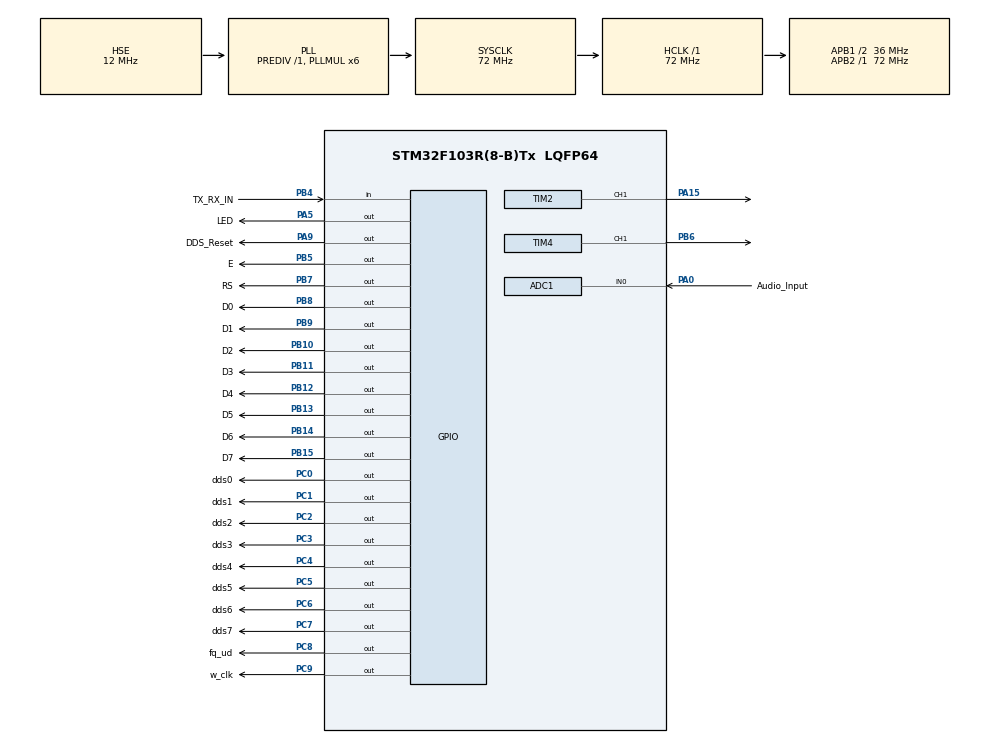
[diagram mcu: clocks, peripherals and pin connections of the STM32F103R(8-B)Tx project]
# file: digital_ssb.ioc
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ADC1.Channel-0\#ChannelRegularConversion=ADC_CHANNEL_0
ADC1.ExternalTrigConv=ADC_EXTERNALTRIGCONV_T3_TRGO
ADC1.NbrOfConversionFlag=1
ADC1.Rank-0\#ChannelRegularConversion=1
ADC1.SamplingTime-0\#ChannelRegularConversion=ADC_SAMPLETIME_1CYCLE_5
ADC1.master=1
Mcu.Family=STM32F1
Mcu.Name=STM32F103R(8-B)Tx
Mcu.Package=LQFP64
NVIC.ADC1_2_IRQn=true\:0\:0\:false\:false\:true\:true
NVIC.PriorityGroup=NVIC_PRIORITYGROUP_4
PA0-WKUP.GPIO_Label=Audio_Input
PA0-WKUP.Signal=ADCx_IN0
PA15.Signal=S_TIM2_CH1_ETR
PA5.GPIO_Label=LED
PA5.GPIO_Speed=GPIO_SPEED_FREQ_HIGH
PA5.PinState=GPIO_PIN_RESET
PA5.Signal=GPIO_Output
PA9.GPIO_Label=DDS_Reset
PA9.GPIO_Speed=GPIO_SPEED_FREQ_HIGH
PA9.Signal=GPIO_Output
PB10.GPIO_Label=D2
PB10.GPIO_Speed=GPIO_SPEED_FREQ_HIGH
PB10.Signal=GPIO_Output
PB11.GPIO_Label=D3
PB11.GPIO_Speed=GPIO_SPEED_FREQ_HIGH
PB11.Signal=GPIO_Output
PB12.GPIO_Label=D4
PB12.GPIO_Speed=GPIO_SPEED_FREQ_HIGH
PB12.Signal=GPIO_Output
PB13.GPIO_Label=D5
PB13.GPIO_Speed=GPIO_SPEED_FREQ_HIGH
PB13.Signal=GPIO_Output
PB14.GPIO_Label=D6
PB14.GPIO_Speed=GPIO_SPEED_FREQ_HIGH
PB14.Signal=GPIO_Output
PB15.GPIO_Label=D7
PB15.GPIO_Speed=GPIO_SPEED_FREQ_HIGH
PB15.Signal=GPIO_Output
PB4.GPIO_Label=TX_RX_IN
PB4.GPIO_PuPd=GPIO_PULLDOWN
PB4.Signal=GPIO_Input
PB5.GPIO_Label=E
PB5.GPIO_Speed=GPIO_SPEED_FREQ_HIGH
PB5.Signal=GPIO_Output
PB6.Signal=S_TIM4_CH1
PB7.GPIO_Label=RS
PB7.GPIO_Speed=GPIO_SPEED_FREQ_HIGH
PB7.Signal=GPIO_Output
PB8.GPIO_Label=D0
PB8.GPIO_Speed=GPIO_SPEED_FREQ_HIGH
PB8.Signal=GPIO_Output
PB9.GPIO_Label=D1
PB9.GPIO_Speed=GPIO_SPEED_FREQ_HIGH
PB9.Signal=GPIO_Output
PC0.GPIO_Label=dds0
PC0.GPIO_Speed=GPIO_SPEED_FREQ_HIGH
PC0.Signal=GPIO_Output
PC1.GPIO_Label=dds1
PC1.GPIO_Speed=GPIO_SPEED_FREQ_HIGH
PC1.Signal=GPIO_Output
PC2.GPIO_Label=dds2
PC2.GPIO_Speed=GPIO_SPEED_FREQ_HIGH
PC2.Signal=GPIO_Output
PC3.GPIO_Label=dds3
PC3.GPIO_Speed=GPIO_SPEED_FREQ_HIGH
PC3.Signal=GPIO_Output
PC4.GPIO_Label=dds4
PC4.GPIO_Speed=GPIO_SPEED_FREQ_HIGH
PC4.Signal=GPIO_Output
PC5.GPIO_Label=dds5
PC5.GPIO_Speed=GPIO_SPEED_FREQ_HIGH
PC5.Signal=GPIO_Output
PC6.GPIO_Label=dds6
PC6.GPIO_Speed=GPIO_SPEED_FREQ_HIGH
PC6.Signal=GPIO_Output
PC7.GPIO_Label=dds7
PC7.GPIO_Speed=GPIO_SPEED_FREQ_HIGH
PC7.Signal=GPIO_Output
PC8.GPIO_Label=fq_ud
PC8.GPIO_Speed=GPIO_SPEED_FREQ_HIGH
PC8.Signal=GPIO_Output
PC9.GPIO_Label=w_clk
PC9.GPIO_Speed=GPIO_SPEED_FREQ_HIGH
PC9.Signal=GPIO_Output
PD0-OSC_IN.Mode=HSE-External-Oscillator
PD0-OSC_IN.Signal=RCC_OSC_IN
PD1-OSC_OUT.Mode=HSE-External-Oscillator
PD1-OSC_OUT.Signal=RCC_OSC_OUT
ProjectManager.HeapSize=0x200
ProjectManager.StackSize=0x400
ProjectManager.TargetToolchain=MDK-ARM V5
RCC.ADCPresc=RCC_ADCPCLK2_DIV6
RCC.AHBFreq_Value=72000000
RCC.APB1CLKDivider=RCC_HCLK_DIV2
RCC.APB1Freq_Value=36000000
RCC.APB1TimFreq_Value=72000000
RCC.APB2Freq_Value=72000000
RCC.APB2TimFreq_Value=72000000
RCC.HCLKFreq_Value=72000000
RCC.HSE_VALUE=12000000
RCC.PLLMUL=RCC_PLL_MUL6
RCC.PLLSourceVirtual=RCC_PLLSOURCE_HSE
RCC.SYSCLKFreq_VALUE=72000000
RCC.SYSCLKSource=RCC_SYSCLKSOURCE_PLLCLK
RCC.USBFreq_Value=72000000
SH.ADCx_IN0.0=ADC1_IN0,IN0
SH.S_TIM2_CH1_ETR.0=TIM2_CH1,PWM Generation1 CH1
SH.S_TIM4_CH1.0=TIM4_CH1,PWM Generation1 CH1
TIM2.Channel-PWM\ Generation1\ CH1=TIM_CHANNEL_1
TIM2.Period=8190
TIM3.Period=8190
TIM3.TIM_MasterOutputTrigger=TIM_TRGO_UPDATE
TIM4.Channel-PWM\ Generation1\ CH1=TIM_CHANNEL_1
TIM4.Period=4095
VP_SYS_VS_ND.Mode=No_Debug
VP_TIM2_VS_ClockSourceINT.Mode=Internal
VP_TIM3_VS_ClockSourceINT.Mode=Internal
VP_TIM4_VS_ClockSourceINT.Mode=Internal
board=custom

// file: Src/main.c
/**
  ******************************************************************************
  * @file           : main.c
  * @brief          : Main program body
  ******************************************************************************
  ** This notice applies to any and all portions of this file
  * that are not between comment pairs USER CODE BEGIN and
  * USER CODE END. Other portions of this file, whether
  * inserted by the user or by software development tools
  * are owned by their respective copyright owners.
  *
  * COPYRIGHT(c) 2020 STMicroelectronics
  *
  * Redistribution and use in source and binary forms, with or without modification,
  * are permitted provided that the following conditions are met:
  *   1. Redistributions of source code must retain the above copyright notice,
  *      this list of conditions and the following disclaimer.
  *   2. Redistributions in binary form must reproduce the above copyright notice,
  *      this list of conditions and the following disclaimer in the documentation
  *      and/or other materials provided with the distribution.
  *   3. Neither the name of STMicroelectronics nor the names of its contributors
  *      may be used to endorse or promote products derived from this software
  *      without specific prior written permission.
  *
  * THIS SOFTWARE IS PROVIDED BY THE COPYRIGHT HOLDERS AND CONTRIBUTORS "AS IS"
  * AND ANY EXPRESS OR IMPLIED WARRANTIES, INCLUDING, BUT NOT LIMITED TO, THE
  * IMPLIED WARRANTIES OF MERCHANTABILITY AND FITNESS FOR A PARTICULAR PURPOSE ARE
  * DISCLAIMED. IN NO EVENT SHALL THE COPYRIGHT HOLDER OR CONTRIBUTORS BE LIABLE
  * FOR ANY DIRECT, INDIRECT, INCIDENTAL, SPECIAL, EXEMPLARY, OR CONSEQUENTIAL
  * DAMAGES (INCLUDING, BUT NOT LIMITED TO, PROCUREMENT OF SUBSTITUTE GOODS OR
  * SERVICES; LOSS OF USE, DATA, OR PROFITS; OR BUSINESS INTERRUPTION) HOWEVER
  * CAUSED AND ON ANY THEORY OF LIABILITY, WHETHER IN CONTRACT, STRICT LIABILITY,
  * OR TORT (INCLUDING NEGLIGENCE OR OTHERWISE) ARISING IN ANY WAY OUT OF THE USE
  * OF THIS SOFTWARE, EVEN IF ADVISED OF THE POSSIBILITY OF SUCH DAMAGE.
  *
  ******************************************************************************
  */
#include "main.h"
#include "stm32f1xx_hal.h"

/* USER CODE BEGIN Includes */
#define ARM_MATH_CM3
#include "arm_math.h"
#define _USE_MATH_DEFINES
#include <math.h>
#include <string.h>

#define PHASE_RES 58968
//#define SSB_LIM
#define IIR_DC_BLOCK
#define MAX_F 30000 //Max SSB frequency offset
#define PHASE_RES_2 31

//Macros
#define GPIOB_PIN(n) (*(PERIPH_BB_BASE + (GPIOB->ODR - PERIPH_BASE) * 0x20 + n * 4)) //Bit banding
//#define toQ31 2147483648*
#define toQ31( v ) ((int32_t) ((2147483648 - 1)*v))
#define mulQ31( a, b ) ((int32_t)(( ((int64_t) (a)) * ((int64_t) (b)) ) >> 31 ))
#define rW( n ) w[(pos- n)&0xF]
#define fromQ31( v ) (((float)v) / (2147483648 - 1) )
/* USER CODE END Includes */

ADC_HandleTypeDef hadc1;

TIM_HandleTypeDef htim2;
TIM_HandleTypeDef htim3;
TIM_HandleTypeDef htim4;

/* USER CODE BEGIN PV */
/* Private variables ---------------------------------------------------------*/

/* USER CODE END PV */

void SystemClock_Config(void);
static void MX_GPIO_Init(void);
static void MX_TIM3_Init(void);
static void MX_TIM4_Init(void);
static void MX_ADC1_Init(void);
static void MX_TIM2_Init(void);

void HAL_TIM_MspPostInit(TIM_HandleTypeDef *htim);

/* USER CODE BEGIN PFP */
/* Private function prototypes -----------------------------------------------*/
volatile uint8_t new_sample = 0, carrier = 0;  //new_sample: tells the main programm if there is a new sample to process
volatile static int16_t adc_value = 0, amplitude = 0; //in and outputs
volatile int32_t dif = 0;
volatile static int32_t offset;
volatile static uint8_t phase_reg;
volatile static uint32_t freq = 271150000; //TX/RX Frequency

static void lcd_write(uint8_t data, uint8_t RS)
{
	uint8_t i;

	GPIOB->ODR &= 0x005F; //Clear all Bits
	GPIOB->ODR |= RS << 7; //Set RS
	GPIOB->ODR |= 1 << 5; //Set E to high
	GPIOB->ODR |= data << 8; //Output data
	for(i=0;i<255;i++); //Delay
	GPIOB->ODR &= ~(1 << 5); //Set E to low
	for(i=0;i<255;i++); //Delay
}

static void lcd_init()
{
	HAL_Delay(15);
	lcd_write(0x30, 0);
	HAL_Delay(5);
	lcd_write(0x30, 0);
	HAL_Delay(1);
	lcd_write(0x30, 0);
	//Select Mode (cursor increment, position fix)
	lcd_write(0x06, 0);
	HAL_Delay(1);
	//Display on, cursor off
	lcd_write(0x0C, 0);
	//lcd_write(0x0F, 0);
	HAL_Delay(5);
	//move cursor to the rigth
	lcd_write(0x14, 0);
	HAL_Delay(5);
	//8bit, two lines, 5x7 Font
	lcd_write(0x38, 0);
	HAL_Delay(5);
}

static void lcd_write_string(char data[], uint8_t line)
{
	uint8_t i = 0;

	//Clear Display
	if(line == 0) lcd_write(0x80, 0);
	else lcd_write(0xC0, 0);
	//HAL_Delay(1);
	while(data[i] != 0)
	{
		lcd_write((uint8_t) data[i], 1);
		i++;

	}
}

static void update_smeter(uint8_t s_value, uint8_t mod)
{
	char out[17], buffer[5];
	uint8_t i;

	out[0] = 'S';
	for(i=1; i<=9; i++) //S-Meter Graph
	{
		if(i <= s_value) out[i] = '>';
		else out[i] = ' ';
	}
	out[10] = 0x0;
	if(s_value < 10)
	{
		sprintf(buffer, "%d ", s_value);
		strcat(out, buffer);
	}
	else
	{
		out[10] = '9';
		out[11] = '+';
	}
	out[12] = 0x0;

	if(mod == 5) strcat(out, " NFM");
	else if(mod == 3) strcat(out, " USB");
	else if(mod == 4) strcat(out, " LSB");

	lcd_write_string(out, 1);
}

static void update_freq(uint8_t tx)
{
	char out[17], buffer[16];
	uint8_t len, i;

	sprintf(out, "%d", freq);
	len = strlen(out);
	for(i=0;i<=(8-len); i++) buffer[i] = '0'; //Add 0 to get constant string size
	buffer[i++] = 0;
	strcat(buffer, out);

	//Add points
	for(i=0;i<=1;i++) out[i] = buffer[i];
	out[2] = '.';
	for(i=3;i<=5;i++) out[i] = buffer[i-1];
	out[6] = '.';
	for(i=7;i<=9;i++) out[i] = buffer[i-2];
	out[10] = ',';
	out[11] = buffer[8];
	out[12] = 'H';
	out[13] = 'z';
	out[14] = ' ';
	if(tx == 1) out[15] = '!';
	else out[15] = ' ';
	out[16] = 0;

	lcd_write_string(out, 0);
}

inline static void set_ad9850_freq(uint64_t freq_buf, uint8_t pw_d, uint8_t phase_reg_in) //freq in * 0,1 Hz (dezi Hz)
{
	static uint8_t w[5], i;
	static const uint64_t ref = 1250000000;
	static uint64_t w_erg;

	w_erg = freq_buf * 4294967296 / ref;  //calculate the 32bit frequency register word for the AD9850

	//w_erg = 0xFF00FF00; //Test

	w[0] = ((phase_reg_in << 1) | (~pw_d & 0x01)) << 2; //allowes to turn of the carrier
	w[1] = (w_erg >> 24) & 0xFF;
	w[2] = (w_erg >> 16) & 0xFF;
	w[3] = (w_erg >> 8) & 0xFF;
	w[4] = w_erg & 0xFF;

	//Set FQ_UD to low
	GPIOC->ODR &= ~(0x01 << 8);

	for(i=0;i<=4;i++)
	{
		GPIOC->ODR &= ~0xFF;
		GPIOC->ODR |= w[i];
		GPIOC->ODR |= 0x01 << 9; //W_CLK high
		GPIOC->ODR &= ~(0x01 << 9);  //W_CLK low
	}

	//Set FQ_UD to high
	GPIOC->ODR |= 0x01 << 8;

}
//I do not plan on implementing AM modulation (makes the transmitter simpler and cheaper)
__forceinline static void bc_am()  //broadcast quality AM. Uses max. sample rate while optaining 12 bit PWM range.
{
	//DC Removal variables
	volatile static float w_dc = 0, w_dc1 = 0;
	static const float a_dc = 0.99;

	//Remove DC
	w_dc = (adc_value >> 3) + a_dc * w_dc1;
	amplitude = ((int) (w_dc - w_dc1)) + 2048; //Add DC offset for carrier (2^12 / 2 = 2048)
	w_dc1 = w_dc;
	new_sample = 0;
}

__forceinline int32_t abs( int32_t a ) { return a < 0 ? (0 -a) : a; }

//only positiv values allowed
/*__forceinline static int32_t divQ31(int32_t a, int32_t b)
{
    static int32_t erg;

    if( a == b) return toQ31(1);
    else
    {
    erg = a / (b >> 15);
    return erg << 16;
    }
}*/

//Sounds better
__forceinline static int32_t divQ31(int32_t a, int32_t b)
{
	return toQ31(fromQ31(a) / fromQ31(b));
}

__forceinline static int32_t atanQ31(int32_t x)
{
    //x = [-1 1] --> y = [-0.25 0.25] = [-45° 45°]
    return mulQ31( toQ31(1/PI), mulQ31(toQ31(PI/4), x) + mulQ31(mulQ31(toQ31(0.285), x), (toQ31(1) - abs(x))));
}

__forceinline static int32_t atan2_Q31(int32_t q, int32_t i)
{
    static int32_t erg;

    if(abs(q) > abs(i))
    {
        erg = toQ31(0.5) - atanQ31(divQ31(abs(i), abs(q))); //arctan(z) = 90-arctan(1/z) (0.5 = 90°)
    }
    else
    {
        erg = (i == 0) ? 0 : atanQ31(divQ31(abs(q), abs(i))); //arctan(z)
    }
    erg = (i < 0) ? toQ31(1) - erg : erg; //arctan(-z) = -arctan(z) (1 = 180°)
    return (q < 0) ? 0-erg : erg;
}

__forceinline static void ssb(uint8_t lsb)
{
	//DC Removal variables
	volatile static float w_dc = 0, w_dc1 = 0;
	static q31_t hilbert_input;

	//Hilbert-Filter variables
	static q31_t w[16], y_I = 0, y_Q = 0;
	static q31_t amplitude_q;
	static const q31_t a[4] = {toQ31(0.052981), toQ31(0.088199), toQ31(0.18683), toQ31(0.62783)};  //calculated with octave
	static uint8_t pos = 0; //ringbuffer position
	static const q31_t div = toQ31(0.5);

	//Phase to Frquency variables
	static int32_t phase_i = 0, prev_phase_i = 0;

	#ifdef IIR_DC_BLOCK
	static q31_t adc_value_q, wdc_q, wdc1_q;
	static const q31_t adc_q = toQ31(0.99);

	adc_value_q = adc_value * ( toQ31(1) / 2048 );
	adc_value_q = adc_value_q >> 10;  //Avoids overflow
	wdc_q = adc_value_q + mulQ31(adc_q,  wdc1_q);
	hilbert_input = wdc_q - wdc1_q;
	wdc1_q = wdc_q;

	hilbert_input = hilbert_input << 7; //More resulution for the hilbert transformer

	#else
	static int32_t dc;
	dc += (adc_value - dc) / 2;
	adc_value -= dc;
	hilbert_input = adc_value * ( toQ31(1) / 2048 );
	#endif

	w[++pos & 0x0F] = hilbert_input;
	y_I = rW(7);
	//structure optimation inspired by wikipedia: Hilbert-Transformation
	//Designed with Octave
	y_Q = mulQ31(rW(14) - rW(0), a[0]) +
        mulQ31(rW(12) - rW(2), a[1]) +
        mulQ31(rW(10) - rW(4), a[2]) +
        mulQ31(rW(8) - rW(6), a[3]);

//++++++++THE FOLLOWING PART IS UNDER CONSTRUCTION++++++++

	//Komponentenschreibweise zu Winkelschreibweise (Component notation to Angular notation?)
	//arm_sqrt_q31(mulQ31(mulQ31(y_I, y_I), div) + mulQ31(mulQ31(y_Q, y_Q), div), &amplitude_q);
	amplitude_q = mulQ31(mulQ31(y_I, y_I), div) + mulQ31(mulQ31(y_Q, y_Q), div); //is sufficient for detecting 0
	//amplitude = (uint16_t) mulQ31( amplitude_q, (q31_t) toQ31( 4096 / toQ31(1))); //Not tested

	static q31_t phase_q;

		if((y_I == 0) && (y_Q > 0)) phase_q = toQ31(0.5); //phase strebt gegen 90° wenn I gegen 0 geht und Q positiv ist
		else if ((y_I == 0) && (y_Q < 0)) phase_q = toQ31(-0.5); //phase strebt gegen -90° wenn I gegen 0 geht und Q negativ ist
		//else phase_q = toQ31(atan2f(fromQ31(y_Q), fromQ31(y_I)) / PI); //[-1 1]
		else phase_q = atan2_Q31(y_Q, y_I);
		//phase = phase / 2;
		phase_q = phase_q >> 1;
		//convert negativ phase to positiv phase (atan2f returns a value between -pi and +pi)
		if(phase_q < 0) phase_q = toQ31(1) + phase_q;
		//PHASE_RES is the phase resulution (importent when converting to int)
		phase_i = (((phase_q >> 16) * PHASE_RES) >> 15);

	//The differential of a phase gives the frequency change (you can convert a frequency modulator into a phase modulator)

	dif = phase_i - prev_phase_i;
	prev_phase_i = phase_i;

	//a "circular" nummber set is needed
	if(dif < 0) dif = dif + PHASE_RES; //avoid negativ phase differences (and therefore negative frequencies)

	//Reduces bandwith but lowers quality
	#ifdef SSB_LIM
	if(dif > MAX_F) //Reducing the bandwidth while maintaining the required frequency shift (delaying to the next sample)
	{
		prev_phase_i = phase_i - (dif - MAX_F);
		dif = MAX_F;
	}
	#endif

	offset = dif;

	carrier = 1;
	if(amplitude_q < 20) carrier = 0; //no carrier when there is no audio input and thus no amplitude

	//LSB
	if(lsb == 1) offset = offset * -1; //mirror the frequencies on the carrier.

	//DDS Phase Reg
	phase_reg = 0;

	new_sample = 0; //calculation finished

//++++++++END OF CONSTRUCTION AREA++++++++
}

__forceinline static void nfm(uint8_t comp)
{
	static int16_t gain = 0;
	static uint16_t to_high = 0, to_low = 0;
	static int32_t out_dc;

	static q31_t adc_value_q, wdc_q, wdc1_q, out_dc_q;
	static const q31_t adc_q = toQ31(0.3);

	adc_value_q = adc_value * ( toQ31(1) / 2048 );
	adc_value_q = adc_value_q >> 10;  //Avoids overflow
	wdc_q = adc_value_q + mulQ31(adc_q,  wdc1_q);
	out_dc_q = wdc_q - wdc1_q;
	wdc1_q = wdc_q;

	out_dc = (out_dc_q << 10) / ( toQ31(1) / 2048 );

	if(comp == 0) gain = 0; //Deactivates the compressor
	offset = (int32_t) (out_dc * (50 + gain));

	//Compressor
	if(offset > 50000) //Limmit frequency drift
	{
		offset = 50000;
		to_high++;
	}
	if(offset < -50000) //Limmit frequency drift
	{
		offset = -50000;
		to_high++;
	}

	if(to_high > 0) //Release
	{
		gain--;
		to_high--;
	}
	else if (offset > 1000) //avoid triggering on silence
	{
		to_low++;
		if(to_low > 5) //Attack
		{
			gain++;
			to_low = 0;
		}
	}
	carrier = 1;
	new_sample = 0; //calculation finished
}

/* USER CODE END PFP */

int main(void)
{
  /* USER CODE BEGIN 1 */
	uint8_t mod = 5; //1 = AM; 3 = USB; 4 = LSB; 5 = NFM
	uint8_t tx = 0, tx_prev = 0;
  /* USER CODE END 1 */

  /* MCU Configuration----------------------------------------------------------*/

  /* Reset of all peripherals, Initializes the Flash interface and the Systick. */
  HAL_Init();

  /* Configure the system clock */
  SystemClock_Config();

  /* Initialize all configured peripherals */
  MX_GPIO_Init();
  MX_TIM3_Init();
  MX_TIM4_Init();
  MX_ADC1_Init();
  MX_TIM2_Init();
  /* USER CODE BEGIN 2 */
	HAL_GPIO_WritePin(GPIOA, DDS_Reset_Pin, GPIO_PIN_SET);
	HAL_Delay(1);
	HAL_GPIO_WritePin(GPIOA, DDS_Reset_Pin, GPIO_PIN_RESET);

	lcd_init();

	HAL_ADC_Start_IT(&hadc1); //Start audio ADC
  HAL_TIM_Base_Start(&htim3); //This timer defines the audio sample rate
  HAL_TIM_PWM_Start(&htim4, TIM_CHANNEL_1); //RF amplitude PWM
	HAL_TIM_PWM_Start(&htim2, TIM_CHANNEL_1); //RF frequency PWM (not used anymore)
  /* USER CODE END 2 */

  /* Infinite loop */
  /* USER CODE BEGIN WHILE */
	//Speedtest for DDS communication
/*while(1)
{
	HAL_GPIO_WritePin(GPIOA, LED_Pin, GPIO_PIN_SET); //Speed Test
	set_ad9850_freq(36000000, 0);
	HAL_GPIO_WritePin(GPIOA, LED_Pin, GPIO_PIN_RESET); //Speed Test
	HAL_Delay(1);
}*/
while(1)
{
  /* USER CODE END WHILE */

  /* USER CODE BEGIN 3 */

//READ TX_RX_IN Pin
tx = HAL_GPIO_ReadPin(GPIOB, TX_RX_IN_Pin);

//++++RECEIVE++++

	if(tx == 0)
	{
		if(tx_prev == 1) //change configuration after TX
		{
			HAL_TIM_Base_Stop(&htim3); //Stop MIC sampling
			set_ad9850_freq(0,0,0); //No TX
			update_freq(tx); //TX indicator
			HAL_Delay(200); //entprellen
		}
		tx_prev = tx;

		//High speed stuff
		HAL_Delay(1);
		update_smeter(10, mod);
		update_freq(tx);
	}

//++++TRANSMIT++++

	else
	{
	if(tx_prev == 0) //change configuration after RX
	{
		HAL_Delay(200); //entprellen
		update_freq(tx); //TX indicator
		update_smeter(0, mod);
		HAL_TIM_Base_Start(&htim3); //Start MIC sampling
	}
	tx_prev = tx;

	//High Speed stuff
	if((mod == 1) && (new_sample == 1))
	  {
		  HAL_GPIO_WritePin(GPIOA, LED_Pin, GPIO_PIN_SET); //Speed Test

		  bc_am();

		  HAL_GPIO_WritePin(GPIOA, LED_Pin, GPIO_PIN_RESET); //Speed Test
	  }
	  else if((mod == 3) && (new_sample == 1))
	  {
		  HAL_GPIO_WritePin(GPIOA, LED_Pin, GPIO_PIN_SET); //Speed Test

		  ssb(0);

		  HAL_GPIO_WritePin(GPIOA, LED_Pin, GPIO_PIN_RESET); //Speed Test
	  }
		else if((mod == 4) && (new_sample == 1))
		{
		  HAL_GPIO_WritePin(GPIOA, LED_Pin, GPIO_PIN_SET); //Speed Test

		  ssb(1);

		  HAL_GPIO_WritePin(GPIOA, LED_Pin, GPIO_PIN_RESET); //Speed Test
	  }
		else if((mod == 5) && (new_sample == 1))
		{
		  HAL_GPIO_WritePin(GPIOA, LED_Pin, GPIO_PIN_SET); //Speed Test

		  nfm(1);

		  HAL_GPIO_WritePin(GPIOA, LED_Pin, GPIO_PIN_RESET); //Speed Test
		}
	}
  }
  /* USER CODE END 3 */

}

void SystemClock_Config(void)
{

  RCC_OscInitTypeDef RCC_OscInitStruct;
  RCC_ClkInitTypeDef RCC_ClkInitStruct;
  RCC_PeriphCLKInitTypeDef PeriphClkInit;

    /**Initializes the CPU, AHB and APB busses clocks
    */
  RCC_OscInitStruct.OscillatorType = RCC_OSCILLATORTYPE_HSE;
  RCC_OscInitStruct.HSEState = RCC_HSE_ON;
  RCC_OscInitStruct.HSEPredivValue = RCC_HSE_PREDIV_DIV1;
  RCC_OscInitStruct.HSIState = RCC_HSI_ON;
  RCC_OscInitStruct.PLL.PLLState = RCC_PLL_ON;
  RCC_OscInitStruct.PLL.PLLSource = RCC_PLLSOURCE_HSE;
  RCC_OscInitStruct.PLL.PLLMUL = RCC_PLL_MUL6;
  if (HAL_RCC_OscConfig(&RCC_OscInitStruct) != HAL_OK)
  {
    _Error_Handler(__FILE__, __LINE__);
  }

    /**Initializes the CPU, AHB and APB busses clocks
    */
  RCC_ClkInitStruct.ClockType = RCC_CLOCKTYPE_HCLK|RCC_CLOCKTYPE_SYSCLK
                              |RCC_CLOCKTYPE_PCLK1|RCC_CLOCKTYPE_PCLK2;
  RCC_ClkInitStruct.SYSCLKSource = RCC_SYSCLKSOURCE_PLLCLK;
  RCC_ClkInitStruct.AHBCLKDivider = RCC_SYSCLK_DIV1;
  RCC_ClkInitStruct.APB1CLKDivider = RCC_HCLK_DIV2;
  RCC_ClkInitStruct.APB2CLKDivider = RCC_HCLK_DIV1;

  if (HAL_RCC_ClockConfig(&RCC_ClkInitStruct, FLASH_LATENCY_2) != HAL_OK)
  {
    _Error_Handler(__FILE__, __LINE__);
  }

  PeriphClkInit.PeriphClockSelection = RCC_PERIPHCLK_ADC;
  PeriphClkInit.AdcClockSelection = RCC_ADCPCLK2_DIV6;
  if (HAL_RCCEx_PeriphCLKConfig(&PeriphClkInit) != HAL_OK)
  {
    _Error_Handler(__FILE__, __LINE__);
  }

    /**Configure the Systick interrupt time
    */
  HAL_SYSTICK_Config(HAL_RCC_GetHCLKFreq()/1000);

    /**Configure the Systick
    */
  HAL_SYSTICK_CLKSourceConfig(SYSTICK_CLKSOURCE_HCLK);

  /* SysTick_IRQn interrupt configuration */
  HAL_NVIC_SetPriority(SysTick_IRQn, 0, 0);
}

/* ADC1 init function */
static void MX_ADC1_Init(void)
{

  ADC_ChannelConfTypeDef sConfig;

    /**Common config
    */
  hadc1.Instance = ADC1;
  hadc1.Init.ScanConvMode = ADC_SCAN_DISABLE;
  hadc1.Init.ContinuousConvMode = DISABLE;
  hadc1.Init.DiscontinuousConvMode = DISABLE;
  hadc1.Init.ExternalTrigConv = ADC_EXTERNALTRIGCONV_T3_TRGO;
  hadc1.Init.DataAlign = ADC_DATAALIGN_RIGHT;
  hadc1.Init.NbrOfConversion = 1;
  if (HAL_ADC_Init(&hadc1) != HAL_OK)
  {
    _Error_Handler(__FILE__, __LINE__);
  }

    /**Configure Regular Channel
    */
  sConfig.Channel = ADC_CHANNEL_0;
  sConfig.Rank = ADC_REGULAR_RANK_1;
  sConfig.SamplingTime = ADC_SAMPLETIME_1CYCLE_5;
  if (HAL_ADC_ConfigChannel(&hadc1, &sConfig) != HAL_OK)
  {
    _Error_Handler(__FILE__, __LINE__);
  }

}

/* TIM2 init function */
static void MX_TIM2_Init(void)
{

  TIM_ClockConfigTypeDef sClockSourceConfig;
  TIM_MasterConfigTypeDef sMasterConfig;
  TIM_OC_InitTypeDef sConfigOC;

  htim2.Instance = TIM2;
  htim2.Init.Prescaler = 0;
  htim2.Init.CounterMode = TIM_COUNTERMODE_UP;
  htim2.Init.Period = 8190;
  htim2.Init.ClockDivision = TIM_CLOCKDIVISION_DIV1;
  htim2.Init.AutoReloadPreload = TIM_AUTORELOAD_PRELOAD_DISABLE;
  if (HAL_TIM_Base_Init(&htim2) != HAL_OK)
  {
    _Error_Handler(__FILE__, __LINE__);
  }

  sClockSourceConfig.ClockSource = TIM_CLOCKSOURCE_INTERNAL;
  if (HAL_TIM_ConfigClockSource(&htim2, &sClockSourceConfig) != HAL_OK)
  {
    _Error_Handler(__FILE__, __LINE__);
  }

  if (HAL_TIM_PWM_Init(&htim2) != HAL_OK)
  {
    _Error_Handler(__FILE__, __LINE__);
  }

  sMasterConfig.MasterOutputTrigger = TIM_TRGO_RESET;
  sMasterConfig.MasterSlaveMode = TIM_MASTERSLAVEMODE_DISABLE;
  if (HAL_TIMEx_MasterConfigSynchronization(&htim2, &sMasterConfig) != HAL_OK)
  {
    _Error_Handler(__FILE__, __LINE__);
  }

  sConfigOC.OCMode = TIM_OCMODE_PWM1;
  sConfigOC.Pulse = 0;
  sConfigOC.OCPolarity = TIM_OCPOLARITY_HIGH;
  sConfigOC.OCFastMode = TIM_OCFAST_DISABLE;
  if (HAL_TIM_PWM_ConfigChannel(&htim2, &sConfigOC, TIM_CHANNEL_1) != HAL_OK)
  {
    _Error_Handler(__FILE__, __LINE__);
  }

  HAL_TIM_MspPostInit(&htim2);

}

/* TIM3 init function */
static void MX_TIM3_Init(void)
{

  TIM_ClockConfigTypeDef sClockSourceConfig;
  TIM_MasterConfigTypeDef sMasterConfig;

  htim3.Instance = TIM3;
  htim3.Init.Prescaler = 0;
  htim3.Init.CounterMode = TIM_COUNTERMODE_UP;
  htim3.Init.Period = 8190;
  htim3.Init.ClockDivision = TIM_CLOCKDIVISION_DIV1;
  htim3.Init.AutoReloadPreload = TIM_AUTORELOAD_PRELOAD_DISABLE;
  if (HAL_TIM_Base_Init(&htim3) != HAL_OK)
  {
    _Error_Handler(__FILE__, __LINE__);
  }

  sClockSourceConfig.ClockSource = TIM_CLOCKSOURCE_INTERNAL;
  if (HAL_TIM_ConfigClockSource(&htim3, &sClockSourceConfig) != HAL_OK)
  {
    _Error_Handler(__FILE__, __LINE__);
  }

  sMasterConfig.MasterOutputTrigger = TIM_TRGO_UPDATE;
  sMasterConfig.MasterSlaveMode = TIM_MASTERSLAVEMODE_DISABLE;
  if (HAL_TIMEx_MasterConfigSynchronization(&htim3, &sMasterConfig) != HAL_OK)
  {
    _Error_Handler(__FILE__, __LINE__);
  }

}

/* TIM4 init function */
static void MX_TIM4_Init(void)
{

  TIM_ClockConfigTypeDef sClockSourceConfig;
  TIM_MasterConfigTypeDef sMasterConfig;
  TIM_OC_InitTypeDef sConfigOC;

  htim4.Instance = TIM4;
  htim4.Init.Prescaler = 0;
  htim4.Init.CounterMode = TIM_COUNTERMODE_UP;
  htim4.Init.Period = 4095;
  htim4.Init.ClockDivision = TIM_CLOCKDIVISION_DIV1;
  htim4.Init.AutoReloadPreload = TIM_AUTORELOAD_PRELOAD_DISABLE;
  if (HAL_TIM_Base_Init(&htim4) != HAL_OK)
  {
    _Error_Handler(__FILE__, __LINE__);
  }

  sClockSourceConfig.ClockSource = TIM_CLOCKSOURCE_INTERNAL;
  if (HAL_TIM_ConfigClockSource(&htim4, &sClockSourceConfig) != HAL_OK)
  {
    _Error_Handler(__FILE__, __LINE__);
  }

  if (HAL_TIM_PWM_Init(&htim4) != HAL_OK)
  {
    _Error_Handler(__FILE__, __LINE__);
  }

  sMasterConfig.MasterOutputTrigger = TIM_TRGO_RESET;
  sMasterConfig.MasterSlaveMode = TIM_MASTERSLAVEMODE_DISABLE;
  if (HAL_TIMEx_MasterConfigSynchronization(&htim4, &sMasterConfig) != HAL_OK)
  {
    _Error_Handler(__FILE__, __LINE__);
  }

  sConfigOC.OCMode = TIM_OCMODE_PWM1;
  sConfigOC.Pulse = 0;
  sConfigOC.OCPolarity = TIM_OCPOLARITY_HIGH;
  sConfigOC.OCFastMode = TIM_OCFAST_DISABLE;
  if (HAL_TIM_PWM_ConfigChannel(&htim4, &sConfigOC, TIM_CHANNEL_1) != HAL_OK)
  {
    _Error_Handler(__FILE__, __LINE__);
  }

  HAL_TIM_MspPostInit(&htim4);

}

/** Configure pins as
        * Analog
        * Input
        * Output
        * EVENT_OUT
        * EXTI
*/
static void MX_GPIO_Init(void)
{

  GPIO_InitTypeDef GPIO_InitStruct;

  /* GPIO Ports Clock Enable */
  __HAL_RCC_GPIOD_CLK_ENABLE();
  __HAL_RCC_GPIOC_CLK_ENABLE();
  __HAL_RCC_GPIOA_CLK_ENABLE();
  __HAL_RCC_GPIOB_CLK_ENABLE();

  /*Configure GPIO pin Output Level */
  HAL_GPIO_WritePin(GPIOC, dds0_Pin|dds1_Pin|dds2_Pin|dds3_Pin
                          |dds4_Pin|dds5_Pin|dds6_Pin|dds7_Pin
                          |fq_ud_Pin|w_clk_Pin, GPIO_PIN_RESET);

  /*Configure GPIO pin Output Level */
  HAL_GPIO_WritePin(GPIOA, LED_Pin|DDS_Reset_Pin, GPIO_PIN_RESET);

  /*Configure GPIO pin Output Level */
  HAL_GPIO_WritePin(GPIOB, D2_Pin|D3_Pin|D4_Pin|D5_Pin
                          |D6_Pin|D7_Pin|E_Pin|RS_Pin
                          |D0_Pin|D1_Pin, GPIO_PIN_RESET);

  /*Configure GPIO pins : dds0_Pin dds1_Pin dds2_Pin dds3_Pin
                           dds4_Pin dds5_Pin dds6_Pin dds7_Pin
                           fq_ud_Pin w_clk_Pin */
  GPIO_InitStruct.Pin = dds0_Pin|dds1_Pin|dds2_Pin|dds3_Pin
                          |dds4_Pin|dds5_Pin|dds6_Pin|dds7_Pin
                          |fq_ud_Pin|w_clk_Pin;
  GPIO_InitStruct.Mode = GPIO_MODE_OUTPUT_PP;
  GPIO_InitStruct.Pull = GPIO_NOPULL;
  GPIO_InitStruct.Speed = GPIO_SPEED_FREQ_HIGH;
  HAL_GPIO_Init(GPIOC, &GPIO_InitStruct);

  /*Configure GPIO pins : LED_Pin DDS_Reset_Pin */
  GPIO_InitStruct.Pin = LED_Pin|DDS_Reset_Pin;
  GPIO_InitStruct.Mode = GPIO_MODE_OUTPUT_PP;
  GPIO_InitStruct.Pull = GPIO_NOPULL;
  GPIO_InitStruct.Speed = GPIO_SPEED_FREQ_HIGH;
  HAL_GPIO_Init(GPIOA, &GPIO_InitStruct);

  /*Configure GPIO pins : D2_Pin D3_Pin D4_Pin D5_Pin
                           D6_Pin D7_Pin E_Pin RS_Pin
                           D0_Pin D1_Pin */
  GPIO_InitStruct.Pin = D2_Pin|D3_Pin|D4_Pin|D5_Pin
                          |D6_Pin|D7_Pin|E_Pin|RS_Pin
                          |D0_Pin|D1_Pin;
  GPIO_InitStruct.Mode = GPIO_MODE_OUTPUT_PP;
  GPIO_InitStruct.Pull = GPIO_NOPULL;
  GPIO_InitStruct.Speed = GPIO_SPEED_FREQ_HIGH;
  HAL_GPIO_Init(GPIOB, &GPIO_InitStruct);

  /*Configure GPIO pin : TX_RX_IN_Pin */
  GPIO_InitStruct.Pin = TX_RX_IN_Pin;
  GPIO_InitStruct.Mode = GPIO_MODE_INPUT;
  GPIO_InitStruct.Pull = GPIO_PULLDOWN;
  HAL_GPIO_Init(TX_RX_IN_GPIO_Port, &GPIO_InitStruct);

}

/* USER CODE BEGIN 4 */
static uint16_t cnt = 0;
void HAL_ADC_ConvCpltCallback(ADC_HandleTypeDef* hadc1) //Called if new audio sample is available
{
	//HAL_GPIO_TogglePin(LED_GPIO_Port, LED_Pin); //Test speed
	adc_value = HAL_ADC_GetValue(hadc1) - 2048; //Read the ADC value

	//ADC is very noisy at the moment (input circuit should be improved)
  if((adc_value < 100) && (adc_value > -100)) //makes sure that the carrier is turned off when there is no audio input
	{
		if(cnt == 800) //number of samples near 0 that trigger carrier deactivation
		{
			adc_value = 0;
		}
		else
		{
			cnt++;
		}
	}
	else
	{
		cnt = 0;
	}

	new_sample = 1; //Tells the main program to compute a new sample
	TIM4->CCR1 = amplitude; //output the last calculated RF sample amplitude
	//TIM2->CCR1 = dif; //output the last calculated RF sample frequency (not used any more)
	set_ad9850_freq(freq + offset, carrier, phase_reg); //Set the DDS frequnecy
}
/* USER CODE END 4 */

void _Error_Handler(char *file, int line)
{
  while(1)
  {
  }
}

/************************ (C) COPYRIGHT STMicroelectronics *****END OF FILE****/
